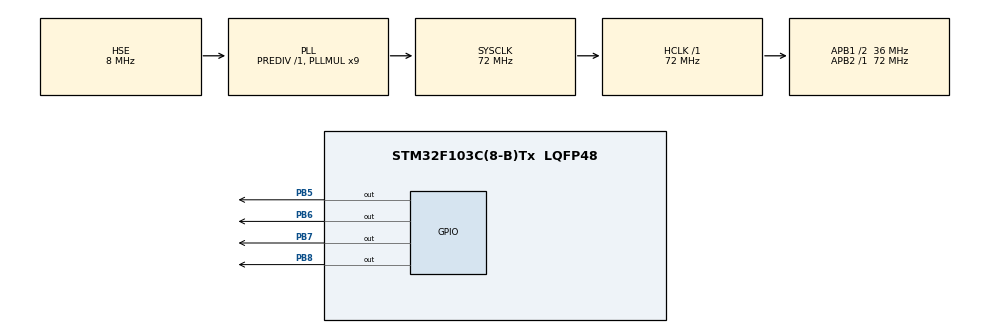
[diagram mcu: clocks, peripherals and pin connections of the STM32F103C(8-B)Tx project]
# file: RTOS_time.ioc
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FREERTOS.Tasks01=greenledTask,0,128,greenTask1,Default,NULL,Dynamic,NULL,NULL;redledTask02,-3,128,redTask02,Default,NULL,Dynamic,NULL,NULL
Mcu.Family=STM32F1
Mcu.Name=STM32F103C(8-B)Tx
Mcu.Package=LQFP48
NVIC.PriorityGroup=NVIC_PRIORITYGROUP_4
NVIC.TIM2_IRQn=true\:15\:0\:false\:false\:true\:false\:false\:true\:true
NVIC.TimeBase=TIM2_IRQn
NVIC.TimeBaseIP=TIM2
PA13.Mode=Serial_Wire
PA13.Signal=SYS_JTMS-SWDIO
PA14.Mode=Serial_Wire
PA14.Signal=SYS_JTCK-SWCLK
PB5.Signal=GPIO_Output
PB6.Signal=GPIO_Output
PB7.Signal=GPIO_Output
PB8.Signal=GPIO_Output
PD0-OSC_IN.Mode=HSE-External-Oscillator
PD0-OSC_IN.Signal=RCC_OSC_IN
PD1-OSC_OUT.Mode=HSE-External-Oscillator
PD1-OSC_OUT.Signal=RCC_OSC_OUT
ProjectManager.HeapSize=0x200
ProjectManager.StackSize=0x400
ProjectManager.TargetToolchain=MDK-ARM V5.32
RCC.AHBFreq_Value=72000000
RCC.APB1CLKDivider=RCC_HCLK_DIV2
RCC.APB1Freq_Value=36000000
RCC.APB1TimFreq_Value=72000000
RCC.APB2Freq_Value=72000000
RCC.APB2TimFreq_Value=72000000
RCC.HCLKFreq_Value=72000000
RCC.PLLMUL=RCC_PLL_MUL9
RCC.PLLSourceVirtual=RCC_PLLSOURCE_HSE
RCC.SYSCLKFreq_VALUE=72000000
RCC.SYSCLKSource=RCC_SYSCLKSOURCE_PLLCLK
RCC.USBFreq_Value=72000000
VP_FREERTOS_VS_CMSIS_V1.Mode=CMSIS_V1
VP_SYS_VS_tim2.Mode=TIM2
board=custom

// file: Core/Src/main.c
/* USER CODE BEGIN Header */
/**
  ******************************************************************************
  * @file           : main.c
  * @brief          : Main program body
  ******************************************************************************
  * @attention
  *
  * Copyright (c) 2024 STMicroelectronics.
  * All rights reserved.
  *
  * This software is licensed under terms that can be found in the LICENSE file
  * in the root directory of this software component.
  * If no LICENSE file comes with this software, it is provided AS-IS.
  *
  ******************************************************************************
  */
/* USER CODE END Header */
#include "main.h"
#include "cmsis_os.h"

osThreadId greenledTaskHandle;
osThreadId redledTask02Handle;

void SystemClock_Config(void);
static void MX_GPIO_Init(void);
void greenTask1(void const * argument);
void redTask02(void const * argument);

int main(void)
{

  /* MCU Configuration--------------------------------------------------------*/

  /* Reset of all peripherals, Initializes the Flash interface and the Systick. */
  HAL_Init();

  /* Configure the system clock */
  SystemClock_Config();

  /* Initialize all configured peripherals */
  MX_GPIO_Init();

  /* Create the thread(s) */
  /* definition and creation of greenledTask */
  osThreadDef(greenledTask, greenTask1, osPriorityNormal, 0, 128);
  greenledTaskHandle = osThreadCreate(osThread(greenledTask), NULL);

  /* definition and creation of redledTask02 */
  osThreadDef(redledTask02, redTask02, osPriorityIdle, 0, 128);
  redledTask02Handle = osThreadCreate(osThread(redledTask02), NULL);

  /* Start scheduler */
  osKernelStart();

  /* We should never get here as control is now taken by the scheduler */

  /* Infinite loop */
  while (1)
  {

  }
}

void SystemClock_Config(void)
{
  RCC_OscInitTypeDef RCC_OscInitStruct = {0};
  RCC_ClkInitTypeDef RCC_ClkInitStruct = {0};

  /** Initializes the RCC Oscillators according to the specified parameters
  * in the RCC_OscInitTypeDef structure.
  */
  RCC_OscInitStruct.OscillatorType = RCC_OSCILLATORTYPE_HSE;
  RCC_OscInitStruct.HSEState = RCC_HSE_ON;
  RCC_OscInitStruct.HSEPredivValue = RCC_HSE_PREDIV_DIV1;
  RCC_OscInitStruct.HSIState = RCC_HSI_ON;
  RCC_OscInitStruct.PLL.PLLState = RCC_PLL_ON;
  RCC_OscInitStruct.PLL.PLLSource = RCC_PLLSOURCE_HSE;
  RCC_OscInitStruct.PLL.PLLMUL = RCC_PLL_MUL9;
  if (HAL_RCC_OscConfig(&RCC_OscInitStruct) != HAL_OK)
  {
    Error_Handler();
  }

  /** Initializes the CPU, AHB and APB buses clocks
  */
  RCC_ClkInitStruct.ClockType = RCC_CLOCKTYPE_HCLK|RCC_CLOCKTYPE_SYSCLK
                              |RCC_CLOCKTYPE_PCLK1|RCC_CLOCKTYPE_PCLK2;
  RCC_ClkInitStruct.SYSCLKSource = RCC_SYSCLKSOURCE_PLLCLK;
  RCC_ClkInitStruct.AHBCLKDivider = RCC_SYSCLK_DIV1;
  RCC_ClkInitStruct.APB1CLKDivider = RCC_HCLK_DIV2;
  RCC_ClkInitStruct.APB2CLKDivider = RCC_HCLK_DIV1;

  if (HAL_RCC_ClockConfig(&RCC_ClkInitStruct, FLASH_LATENCY_2) != HAL_OK)
  {
    Error_Handler();
  }
}

static void MX_GPIO_Init(void)
{
  GPIO_InitTypeDef GPIO_InitStruct = {0};

  /* GPIO Ports Clock Enable */
  __HAL_RCC_GPIOD_CLK_ENABLE();
  __HAL_RCC_GPIOA_CLK_ENABLE();
  __HAL_RCC_GPIOB_CLK_ENABLE();

  /*Configure GPIO pin Output Level */
  HAL_GPIO_WritePin(GPIOB, GPIO_PIN_5|GPIO_PIN_6|GPIO_PIN_7|GPIO_PIN_8, GPIO_PIN_RESET);

  /*Configure GPIO pins : PB5 PB6 PB7 PB8 */
  GPIO_InitStruct.Pin = GPIO_PIN_5|GPIO_PIN_6|GPIO_PIN_7|GPIO_PIN_8;
  GPIO_InitStruct.Mode = GPIO_MODE_OUTPUT_PP;
  GPIO_InitStruct.Pull = GPIO_NOPULL;
  GPIO_InitStruct.Speed = GPIO_SPEED_FREQ_LOW;
  HAL_GPIO_Init(GPIOB, &GPIO_InitStruct);

}

void greenTask1(void const * argument)
{
  /* USER CODE BEGIN 5 */
  /* Infinite loop */
  for(;;)
  {
    HAL_GPIO_WritePin(GPIOB, GPIO_PIN_5, GPIO_PIN_SET);

        // Toggle Green LED selama 4 detik dengan frekuensi 20 Hz (setiap 50 ms)
        uint32_t toggleTime = 4000 / 50; // 4 detik / 50ms per toggle
        for (uint32_t i = 0; i < toggleTime; i++)
        {
            HAL_GPIO_TogglePin(GPIOB, GPIO_PIN_6);
            osDelay(50); // Delay 50ms (frekuensi 20 Hz)
        }

        // Matikan Green LED
        HAL_GPIO_WritePin(GPIOB, GPIO_PIN_6, GPIO_PIN_RESET);

        // Matikan Blue LED
        HAL_GPIO_WritePin(GPIOB, GPIO_PIN_5, GPIO_PIN_RESET);

        // Tunda selama 6 detik
        osDelay(6000);
  }
  /* USER CODE END 5 */
}

void redTask02(void const * argument)
{
  /* USER CODE BEGIN redTask02 */
  /* Infinite loop */
  for(;;)
  {
				// Nyalakan Orange LED
        HAL_GPIO_WritePin(GPIOB, GPIO_PIN_7, GPIO_PIN_SET);

        // Toggle Red LED selama 0.5 detik dengan frekuensi 20 Hz (setiap 50 ms)
        uint32_t toggleTime = 500 / 50; // 0.5 detik / 50ms per toggle
        for (uint32_t i = 0; i < toggleTime; i++)
        {
            HAL_GPIO_TogglePin(GPIOB, GPIO_PIN_8);
            osDelay(50); // Delay 50ms (frekuensi 20 Hz)
        }

        // Matikan Red LED
        HAL_GPIO_WritePin(GPIOB, GPIO_PIN_8, GPIO_PIN_RESET);

        // Matikan Orange LED
        HAL_GPIO_WritePin(GPIOB, GPIO_PIN_7, GPIO_PIN_RESET);

        // Tunda selama 1.5 detik
        osDelay(1500);   }
  /* USER CODE END redTask02 */
}

void HAL_TIM_PeriodElapsedCallback(TIM_HandleTypeDef *htim)
{
  if (htim->Instance == TIM2) {
    HAL_IncTick();
  }
}

void Error_Handler(void)
{
  __disable_irq();
  while (1)
  {
  }
}
